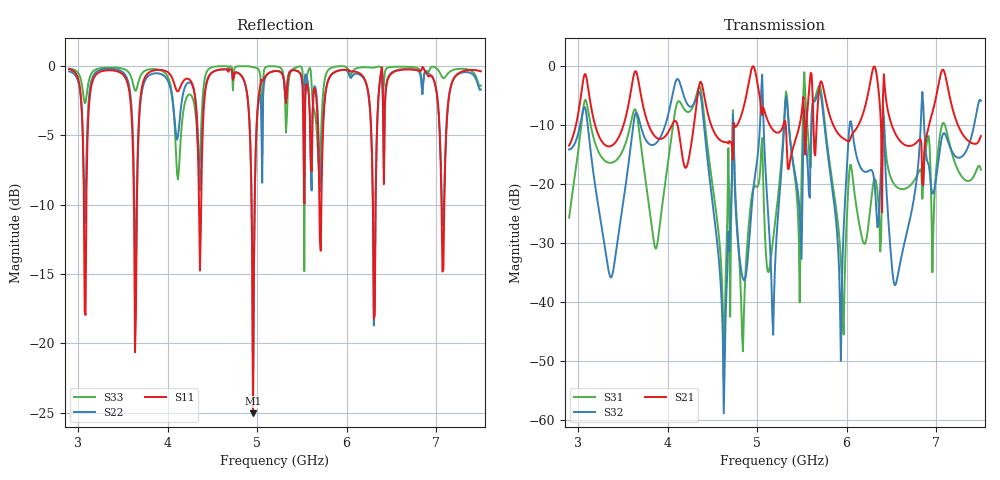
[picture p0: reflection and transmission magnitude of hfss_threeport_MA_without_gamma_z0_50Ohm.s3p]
! Touchstone file from project Project1
! Exported from HFSS 2017.1.0
# GHZ S MA R 50.000000
! Modal data exported
! Port[1] = 1:1
! Port[2] = 2:1
! Port[3] = 3:1
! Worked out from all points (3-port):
!   451 points, 2.9 GHz to 7.5 GHz, reference 50 ohm
!   strongest paths, dB at 2.9 GHz, 4.045 GHz, 5.2 GHz, 6.355 GHz, 7.5 GHz:
!     S21: -13.5, -10.1, -11.2, -3.9, -11.9
!     S32: -14.2, -5.6, -34.1, -26.8, -5.9
!     S31: -25.7, -11.8, -26.7, -23.2, -17.6
!   lowest |S11| = -25.0 dB at 4.955 GHz (marker M1), VSWR 1.12, Z = 44.9 - j1.58 ohm
!   |S11| at or under -10 dB: 3.624 GHz to 3.656 GHz (32.06 MHz wide, 0.881 % of centre); 4.938 GHz to 4.973 GHz (34.94 MHz wide, 0.705 % of centre); 7.059955 GHz to 7.091402 GHz (31.45 MHz wide, 0.444 % of centre)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
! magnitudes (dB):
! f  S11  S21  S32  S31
! 2.9 GHz  -0.2  -13.5  -14.2  -25.7
! 4.352 GHz  -10.1  -3.4  -4.4  -3.5
! 4.628 GHz  -0.2  -12.9  -58.8  -53.4
! 4.955 GHz  -25.0  0.0  -21.4  -20.9
! 5.2 GHz  -0.4  -11.2  -34.1  -26.7
! 5.323 GHz  -2.7  -10.3  -5.2  -4.4
! 5.936 GHz  -0.3  -12.0  -49.9  -32.7
! 6.048 GHz  -0.4  -12.0  -9.4  -16.7
! 6.549 GHz  -0.4  -11.6  -37.0  -20.3
! 7.5 GHz  -0.4  -11.9  -5.9  -17.6
